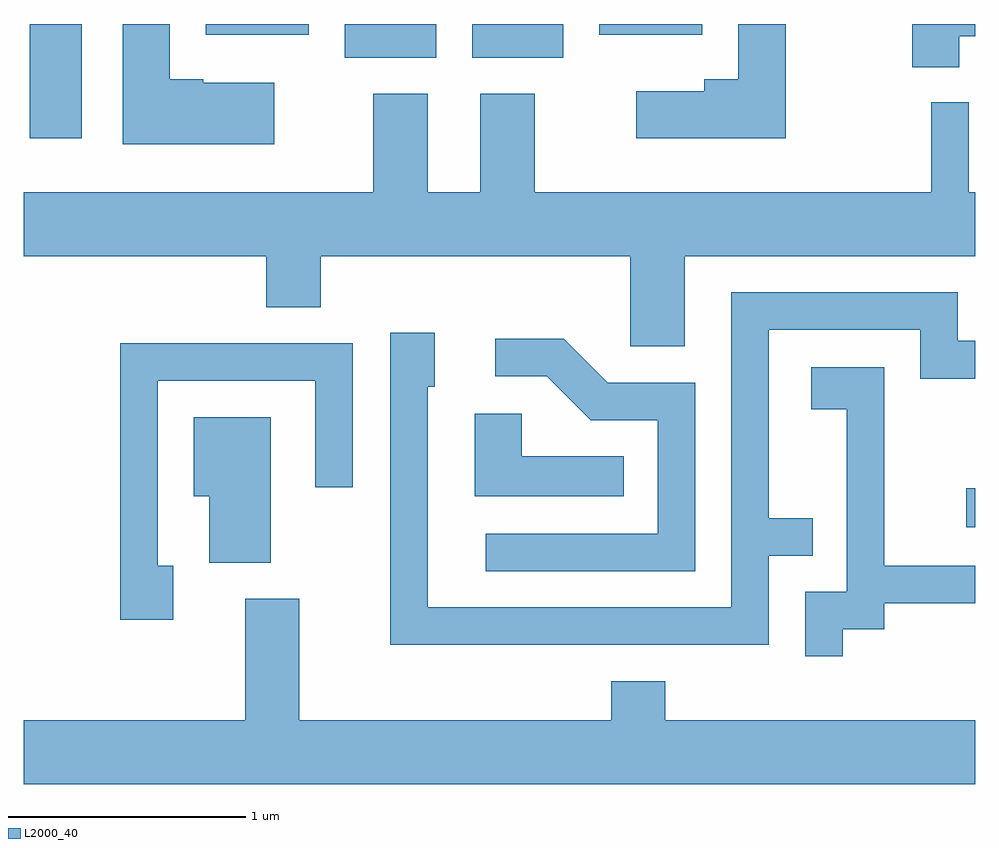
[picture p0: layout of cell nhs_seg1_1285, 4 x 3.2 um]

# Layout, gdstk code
import gdstk
lib = gdstk.Library(unit=1e-6, precision=1e-09)
def R(c, l, rs):  # rectangles x0, y0, x1, y1
    for r in rs: c.add(gdstk.rectangle(r[:2], r[2:], *l))
def P(c, l, *ps):  # polygons
    for p in ps: c.add(gdstk.Polygon(p, *l))
L2000_40 = (2000, 40)

nhs_seg1_1285 = lib.new_cell('nhs_seg1_1285')
R(nhs_seg1_1285, L2000_40, [(229.573,849.596,229.611,849.759), (225.636,851.231,225.854,851.712), (226.961,851.571,227.344,851.712), (227.496,851.571,227.879,851.712), (226.376,851.666,226.809,851.712), (228.031,851.666,228.464,851.712)])
P(nhs_seg1_1285, L2000_40, [(229.544,851.661),(229.611,851.661),(229.611,851.712),(229.346,851.712),(229.346,851.531),(229.544,851.531)],
  [(226.664,851.464),(226.365,851.464),(226.365,851.479),(226.224,851.479),(226.224,851.712),(226.026,851.712),(226.026,851.206),(226.664,851.206)],
  [(228.814,851.712),(228.616,851.712),(228.616,851.479),(228.471,851.479),(228.471,851.429),(228.186,851.429),(228.186,851.231),(228.814,851.231)],
  [(228.389,850.736),(229.611,850.736),(229.611,851.004),(229.584,851.004),(229.584,851.383),(229.426,851.383),(229.426,851.004),(227.759,851.004),(227.759,851.419),(227.531,851.419),(227.531,851.004),(227.309,851.004),(227.309,851.419),(227.081,851.419),(227.081,851.004),(225.611,851.004),(225.611,850.736),(226.631,850.736),(226.631,850.521),(226.859,850.521),(226.859,850.736),(228.161,850.736),(228.161,850.356),(228.389,850.356)],
  [(228.744,849.476),(228.928,849.476),(228.928,849.634),(228.744,849.634),(228.744,850.426),(229.381,850.426),(229.381,850.221),(229.611,850.221),(229.611,850.379),(229.539,850.379),(229.539,850.584),(228.586,850.584),(228.586,849.259),(227.309,849.259),(227.309,850.186),(227.339,850.186),(227.339,850.414),(227.151,850.414),(227.151,849.101),(228.744,849.101)],
  [(228.434,850.204),(228.067,850.204),(227.882,850.389),(227.593,850.389),(227.593,850.231),(227.809,850.231),(227.994,850.046),(228.276,850.046),(228.276,849.569),(227.553,849.569),(227.553,849.411),(228.434,849.411)],
  [(226.239,849.434),(226.174,849.434),(226.174,850.211),(226.836,850.211),(226.836,849.763),(226.994,849.763),(226.994,850.369),(226.016,850.369),(226.016,849.206),(226.239,849.206)],
  [(229.054,849.166),(229.229,849.166),(229.229,849.276),(229.611,849.276),(229.611,849.434),(229.229,849.434),(229.229,850.269),(228.921,850.269),(228.921,850.091),(229.071,850.091),(229.071,849.324),(228.896,849.324),(228.896,849.053),(229.054,849.053)],
  [(228.133,849.894),(227.704,849.894),(227.704,850.074),(227.506,850.074),(227.506,849.726),(228.133,849.726)],
  [(226.649,850.059),(226.326,850.059),(226.326,849.726),(226.391,849.726),(226.391,849.446),(226.649,849.446)],
  [(229.611,848.784),(228.309,848.784),(228.309,848.949),(228.081,848.949),(228.081,848.784),(226.769,848.784),(226.769,849.294),(226.541,849.294),(226.541,848.784),(225.611,848.784),(225.611,848.516),(229.611,848.516)])

lib.write_gds('nhs_seg1_1285.gds')
